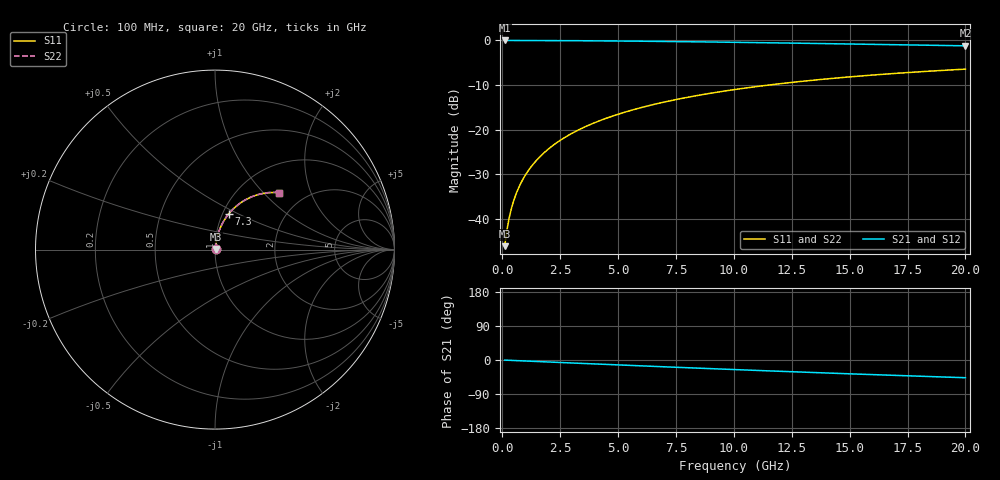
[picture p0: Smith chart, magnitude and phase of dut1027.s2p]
! Touchstone file exported from HFSS 2026.1.0
!  File:  C:/ffzhzh/LocalFiles/Ansys_Project_Files/temp_train_TMRDL_1027_1783159962_22436.aedt
!  Generated:  06:13:59 PM Jul  4, 2026
!  Design:  TMRDL
!  Project:  temp_train_TMRDL_1027_1783159962_22436
! Variables:
!  h_bsmrdl = 2um
!  h_ox = 20um
!  h_rdl = 5um
!  h_sub = 80um
!  h_tmrdl = 3.56um
!  h_tsv = 80um
!  h_via = 3um
!  l_bsmrdl = 300um
!  l_sub = 1052.06um
!  l_tmrdl = 652.06um
!  m_sub = 200um
!  pitch = 51.96um
!  r_tsv = 6um
!  s_tmrdl = 10um
!  w_bsmrdl = 18um
!  w_sub = 500um
!  w_tmrdl = 17.83um
!  x_tsv_center1 = 660.975um
!  x_tsv_center2 = 978.975um
!  x_tsv_center3 = 1648.865um
!  x_tsv_center4 = 1966.865um
!  x_tsv_center5 = 2636.755um
!  x_tsv_center6 = 2954.755um
# GHz S MA R 50.000000
! Terminal data exported
! Port[1] = TM_RDL1_1_T1
! Port[2] = TM_RDL1_1_T2
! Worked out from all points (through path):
!   200 points, 100 MHz to 20 GHz, reference 50 ohm
!   highest |S21| = -0.03 dB at 100 MHz (marker M1); lowest = -1.2 dB at 20 GHz (marker M2)
!   group delay of S21, straight-line fit = 6.51 ps
!   lowest |S11| = -46.1 dB at 100 MHz (marker M3), VSWR 1.01, Z = 50.4 + j0.325 ohm
!   |S11| at or under -10 dB: start of sweep to 11.52 GHz
!   |S22| runs from -46.1 to -6.5 dB; largest |S21 - S12| = 3.2e-15
!   S11 on the Smith chart (normalised r, x): 100 MHz: 1.01, +0.01; 7.3 GHz: 1.07, +0.44; 20 GHz: 1.50, +1.23
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0.1  0.004973 40.5  0.9962 -0.3  0.9962 -0.3  0.004973 40.5
! Gamma 0 0 0 0
! Port Impedance 50 0 50 0
0.2  0.00752 58.4  0.9961 -0.5  0.9961 -0.5  0.00752 58.4
0.3  0.01039 66.5  0.9959 -0.8  0.9959 -0.8  0.01039 66.5
0.4  0.01332 70.8  0.9958 -1.1  0.9958 -1.1  0.01332 70.8
0.5  0.01628 73.5  0.9956 -1.3  0.9956 -1.3  0.01628 73.5
0.6  0.01924 75.3  0.9955 -1.6  0.9955 -1.6  0.01924 75.3
0.8  0.02518 77.6  0.9952 -2.1  0.9952 -2.1  0.02517 77.6
1.1  0.03412 79.2  0.9948 -2.9  0.9948 -2.9  0.03412 79.2
1.5  0.04609 80.0  0.9942 -4.0  0.9942 -4.0  0.04609 80.0
1.8  0.05507 80.1  0.9936 -4.7  0.9936 -4.7  0.05507 80.1
2.1  0.06404 79.9  0.993 -5.5  0.993 -5.5  0.06404 80.0
2.7  0.08191 79.2  0.9914 -7.1  0.9914 -7.1  0.08191 79.2
3.5  0.1055 77.7  0.9887 -9.2  0.9887 -9.2  0.1055 77.8
4.2  0.1259 76.2  0.986 -11.0  0.986 -11.0  0.1259 76.3
5  0.1488 74.4  0.9823 -13.0  0.9823 -13.0  0.1488 74.5
6.8  0.1986 70.2  0.9724 -17.5  0.9724 -17.5  0.1986 70.3
7.3  0.212 69.1  0.9692 -18.7  0.9692 -18.7  0.212 69.1
8.6  0.2457 66.0  0.9606 -21.9  0.9606 -21.9  0.2457 66.1
10.1  0.2829 62.6  0.9496 -25.5  0.9496 -25.5  0.2829 62.7
13.4  0.3573 55.3  0.9232 -33.0  0.9232 -33.0  0.3573 55.3
16.7  0.4216 48.3  0.8954 -40.1  0.8954 -40.1  0.4216 48.4
20  0.4759 41.8  0.8677 -46.8  0.8677 -46.8  0.4758 41.9
